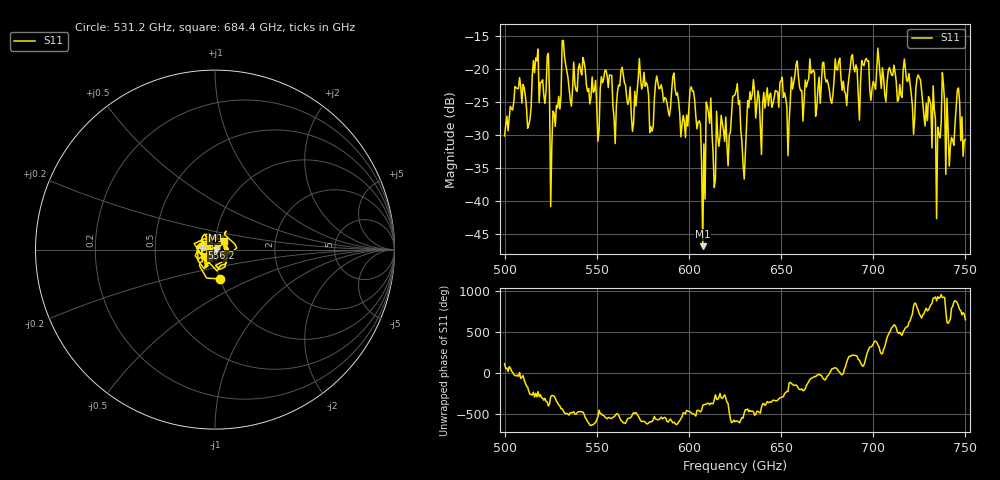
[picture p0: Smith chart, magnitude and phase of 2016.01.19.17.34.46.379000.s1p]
!Created with skrf (http://scikit-rf.org).
# GHz S RI R 50.0
!freq ReS11 ImS11
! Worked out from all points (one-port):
!   401 points, 500 GHz to 750 GHz, reference 50 ohm
!   lowest |S11| = -46.9 dB at 607.5 GHz (marker M1), VSWR 1.01, Z = 50.3 - j0.298 ohm
!   |S11| at or under -10 dB: start of sweep to end of sweep
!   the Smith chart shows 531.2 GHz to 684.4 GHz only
!   S11 on the Smith chart (normalised r, x): 531.2 GHz: 1.00, -0.33; 556.2 GHz: 0.87, +0.02; 684.4 GHz: 1.09, +0.11
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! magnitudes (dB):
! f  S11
! 500 GHz  -30.1
! 506.9 GHz  -22.9
! 513.1 GHz  -28.4
! 516.9 GHz  -18.3
! 523.1 GHz  -18.0
! 526.2 GHz  -26.4
! 531.2 GHz  -15.7
! 550 GHz  -25.7
! 556.2 GHz  -22.8
! 560 GHz  -31.3
! 562.5 GHz  -22.5
! 580 GHz  -29.4
! 583.1 GHz  -22.0
! 593.8 GHz  -23.6
! 601.9 GHz  -23.3
! 607.5 GHz  -46.9
! 610.6 GHz  -26.7
! 614.4 GHz  -36.7
! 625 GHz  -23.9
! 629.4 GHz  -34.4
! 634.4 GHz  -23.7
! 656.2 GHz  -23.0
! 684.4 GHz  -23.3
! 687.5 GHz  -19.7
! 718.8 GHz  -21.9
! 735 GHz  -28.8
! 737.5 GHz  -20.5
! 750 GHz  -30.7
